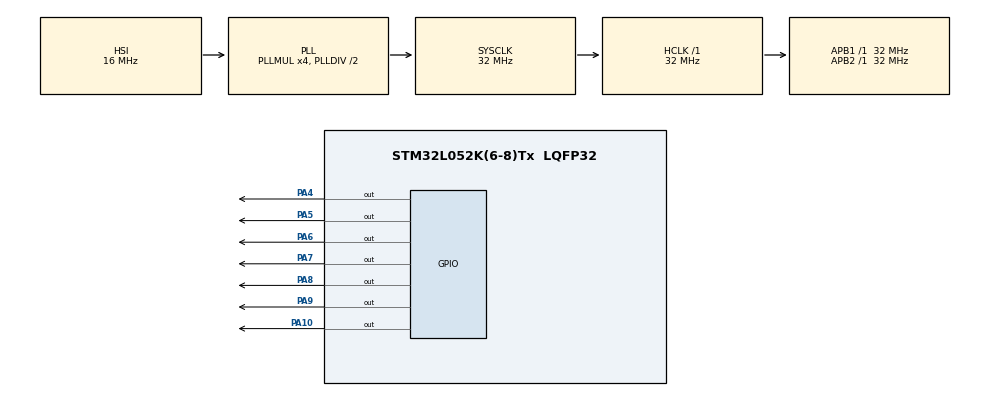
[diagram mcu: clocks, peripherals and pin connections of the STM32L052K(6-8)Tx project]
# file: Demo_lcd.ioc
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Mcu.Family=STM32L0
Mcu.Name=STM32L052K(6-8)Tx
Mcu.Package=LQFP32
PA10.Signal=GPIO_Output
PA13.Mode=Serial_Wire
PA13.Signal=SYS_SWDIO
PA14.Mode=Serial_Wire
PA14.Signal=SYS_SWCLK
PA4.Signal=GPIO_Output
PA5.Signal=GPIO_Output
PA6.Signal=GPIO_Output
PA7.Signal=GPIO_Output
PA8.Signal=GPIO_Output
PA9.Signal=GPIO_Output
ProjectManager.HeapSize=0x200
ProjectManager.StackSize=0x400
ProjectManager.TargetToolchain=MDK-ARM V5
RCC.AHBFreq_Value=32000000
RCC.APB1Freq_Value=32000000
RCC.APB1TimFreq_Value=32000000
RCC.APB2Freq_Value=32000000
RCC.APB2TimFreq_Value=32000000
RCC.HCLKFreq_Value=32000000
RCC.HSI16_VALUE=16000000
RCC.HSI48_VALUE=48000000
RCC.HSI_VALUE=16000000
RCC.LSE_VALUE=32768
RCC.MSI_VALUE=2097000
RCC.PLLMUL=RCC_PLLMUL_4
RCC.SYSCLKFreq_VALUE=32000000
RCC.SYSCLKSource=RCC_SYSCLKSOURCE_PLLCLK
RCC.VCOOutputFreq_Value=64000000
board=Demo_lcd

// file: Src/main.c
/* USER CODE BEGIN Header */
/**
  ******************************************************************************
  * @file           : main.c
  * @brief          : Main program body
  ******************************************************************************
  * @attention
  *
  * Copyright (c) 2022 STMicroelectronics.
  * All rights reserved.
  *
  * This software is licensed under terms that can be found in the LICENSE file
  * in the root directory of this software component.
  * If no LICENSE file comes with this software, it is provided AS-IS.
  *
  ******************************************************************************
  */
/* USER CODE END Header */
#include "main.h"

/* USER CODE BEGIN Includes */
#define RS_ON			HAL_GPIO_WritePin(GPIOA, GPIO_PIN_8,1)
#define RS_OFF		HAL_GPIO_WritePin(GPIOA, GPIO_PIN_8,0)

#define RW_ON			HAL_GPIO_WritePin(GPIOA, GPIO_PIN_9,1)
#define RW_OFF		HAL_GPIO_WritePin(GPIOA, GPIO_PIN_9,0)

#define EN_ON			HAL_GPIO_WritePin(GPIOA, GPIO_PIN_10,1)
#define EN_OFF		HAL_GPIO_WritePin(GPIOA, GPIO_PIN_10,0)
/* USER CODE END Includes */

/* USER CODE BEGIN PV */
/* Private variables ---------------------------------------------------------*/

/* USER CODE END PV */

void SystemClock_Config(void);
static void MX_GPIO_Init(void);
/* USER CODE BEGIN PFP */
/* Private function prototypes -----------------------------------------------*/

/* USER CODE END PFP */

/* USER CODE BEGIN 0 */
void hienthi(unsigned char d)
	{
		EN_ON;

		HAL_GPIO_WritePin(GPIOA, GPIO_PIN_4,(d&0x10)>>4);
		HAL_GPIO_WritePin(GPIOA, GPIO_PIN_5,(d&0x20)>>5);
		HAL_GPIO_WritePin(GPIOA, GPIO_PIN_6,(d&0x40)>>6);
		HAL_GPIO_WritePin(GPIOA, GPIO_PIN_7,(d&0x80)>>7);
		EN_OFF;

		EN_ON;
		HAL_GPIO_WritePin(GPIOA, GPIO_PIN_4,(d&0x01)>>0);
		HAL_GPIO_WritePin(GPIOA, GPIO_PIN_5,(d&0x02)>>1);
		HAL_GPIO_WritePin(GPIOA, GPIO_PIN_6,(d&0x04)>>2);
		HAL_GPIO_WritePin(GPIOA, GPIO_PIN_7,(d&0x08)>>3);
		EN_OFF;
	}
	void  ma_lcd (unsigned char  d)
	{
		HAL_Delay(1);
		RW_OFF;
		RS_ON;
		hienthi(d);
	}
	void lenh_lcd(unsigned char d)
	{
		HAL_Delay(1);
		RS_OFF;
		RW_OFF;
		hienthi(d);

	}
	void string_lcd(unsigned char *s)
	{
		while(*s)
		{
			ma_lcd(*(s++));
		}
	}
	void lcd_init()
	{
		lenh_lcd(0x28);
		lenh_lcd(0x0c);
		lenh_lcd(0x02);
		lenh_lcd(0x01);
	}
/* USER CODE END 0 */

int main(void)
{

  /* MCU Configuration--------------------------------------------------------*/

  /* Reset of all peripherals, Initializes the Flash interface and the Systick. */
  HAL_Init();

  /* Configure the system clock */
  SystemClock_Config();

  /* Initialize all configured peripherals */
  MX_GPIO_Init();
  /* USER CODE BEGIN 2 */
	lcd_init();
	lcd_init();
	lcd_init();
  /* USER CODE END 2 */

  /* Infinite loop */
  while (1)
  {

    /* USER CODE BEGIN 3 */
		lenh_lcd(0x80);
		sprintf(&m[0]," STM32L052K6T6" );
		string_lcd(&m[0]);

		lenh_lcd(0xc0);
		sprintf(&m[0],"   Well come");
		string_lcd(&m[0]);
  }
  /* USER CODE END 3 */
}

void SystemClock_Config(void)
{
  RCC_OscInitTypeDef RCC_OscInitStruct = {0};
  RCC_ClkInitTypeDef RCC_ClkInitStruct = {0};

  /** Configure the main internal regulator output voltage
  */
  __HAL_PWR_VOLTAGESCALING_CONFIG(PWR_REGULATOR_VOLTAGE_SCALE1);
  /** Initializes the RCC Oscillators according to the specified parameters
  * in the RCC_OscInitTypeDef structure.
  */
  RCC_OscInitStruct.OscillatorType = RCC_OSCILLATORTYPE_HSI;
  RCC_OscInitStruct.HSIState = RCC_HSI_ON;
  RCC_OscInitStruct.HSICalibrationValue = RCC_HSICALIBRATION_DEFAULT;
  RCC_OscInitStruct.PLL.PLLState = RCC_PLL_ON;
  RCC_OscInitStruct.PLL.PLLSource = RCC_PLLSOURCE_HSI;
  RCC_OscInitStruct.PLL.PLLMUL = RCC_PLLMUL_4;
  RCC_OscInitStruct.PLL.PLLDIV = RCC_PLLDIV_2;
  if (HAL_RCC_OscConfig(&RCC_OscInitStruct) != HAL_OK)
  {
    Error_Handler();
  }
  /** Initializes the CPU, AHB and APB buses clocks
  */
  RCC_ClkInitStruct.ClockType = RCC_CLOCKTYPE_HCLK|RCC_CLOCKTYPE_SYSCLK
                              |RCC_CLOCKTYPE_PCLK1|RCC_CLOCKTYPE_PCLK2;
  RCC_ClkInitStruct.SYSCLKSource = RCC_SYSCLKSOURCE_PLLCLK;
  RCC_ClkInitStruct.AHBCLKDivider = RCC_SYSCLK_DIV1;
  RCC_ClkInitStruct.APB1CLKDivider = RCC_HCLK_DIV1;
  RCC_ClkInitStruct.APB2CLKDivider = RCC_HCLK_DIV1;

  if (HAL_RCC_ClockConfig(&RCC_ClkInitStruct, FLASH_LATENCY_1) != HAL_OK)
  {
    Error_Handler();
  }
}

static void MX_GPIO_Init(void)
{
  GPIO_InitTypeDef GPIO_InitStruct = {0};

  /* GPIO Ports Clock Enable */
  __HAL_RCC_GPIOA_CLK_ENABLE();

  /*Configure GPIO pin Output Level */
  HAL_GPIO_WritePin(GPIOA, GPIO_PIN_4|GPIO_PIN_5|GPIO_PIN_6|GPIO_PIN_7
                          |GPIO_PIN_8|GPIO_PIN_9|GPIO_PIN_10, GPIO_PIN_RESET);

  /*Configure GPIO pins : PA4 PA5 PA6 PA7
                           PA8 PA9 PA10 */
  GPIO_InitStruct.Pin = GPIO_PIN_4|GPIO_PIN_5|GPIO_PIN_6|GPIO_PIN_7
                          |GPIO_PIN_8|GPIO_PIN_9|GPIO_PIN_10;
  GPIO_InitStruct.Mode = GPIO_MODE_OUTPUT_PP;
  GPIO_InitStruct.Pull = GPIO_NOPULL;
  GPIO_InitStruct.Speed = GPIO_SPEED_FREQ_LOW;
  HAL_GPIO_Init(GPIOA, &GPIO_InitStruct);

}

void Error_Handler(void)
{
  while(1)
  {
  }
}
